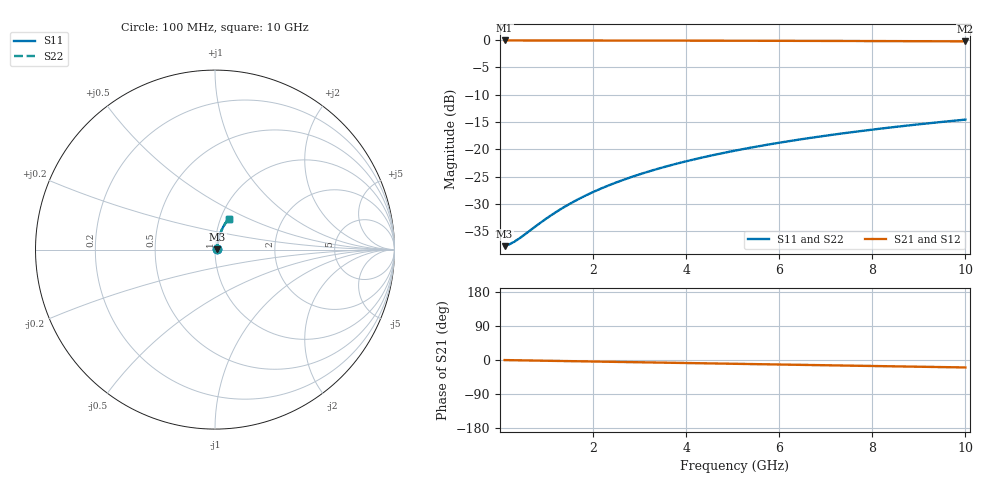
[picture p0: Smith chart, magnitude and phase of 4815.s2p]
# Hz S RI R 50.00
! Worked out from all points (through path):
!   100 points, 100 MHz to 10 GHz, reference 50 ohm
!   highest |S21| = -0.11 dB at 100 MHz (marker M1); lowest = -0.3 dB at 10 GHz (marker M2)
!   group delay of S21, straight-line fit = 5.47 ps
!   lowest |S11| = -37.7 dB at 100 MHz (marker M3), VSWR 1.03, Z = 51.3 + j0.193 ohm
!   |S11| at or under -10 dB: start of sweep to end of sweep
!   |S22| runs from -37.7 to -14.6 dB; largest |S21 - S12| = 0
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1e8  0.0129 0.00188  0.9871 -0.00343  0.9871 -0.00343  0.0129 0.00188
2e8  0.013 0.00376  0.987 -0.00686  0.987 -0.00686  0.013 0.00376
3e8  0.0131 0.00564  0.9869 -0.0103  0.9869 -0.0103  0.0131 0.00564
4e8  0.0132 0.00751  0.9868 -0.0137  0.9868 -0.0137  0.0132 0.00751
9e8  0.0138 0.0169  0.9861 -0.0309  0.9861 -0.0309  0.0138 0.0169
1.2e9  0.0143 0.0225  0.9855 -0.0411  0.9855 -0.0411  0.0143 0.0225
1.5e9  0.0149 0.0281  0.9848 -0.0514  0.9848 -0.0514  0.0149 0.0281
1.8e9  0.0156 0.0337  0.984 -0.0616  0.984 -0.0616  0.0156 0.0337
2.1e9  0.0164 0.0392  0.983 -0.0718  0.983 -0.0718  0.0164 0.0392
2.5e9  0.0177 0.0466  0.9816 -0.0854  0.9816 -0.0854  0.0177 0.0466
2.9e9  0.0191 0.054  0.9798 -0.099  0.9798 -0.099  0.0191 0.054
3.4e9  0.0212 0.0631  0.9773 -0.1159  0.9773 -0.1159  0.0212 0.0631
3.8e9  0.0231 0.0703  0.9751 -0.1293  0.9751 -0.1293  0.0231 0.0703
4.2e9  0.0252 0.0775  0.9726 -0.1427  0.9726 -0.1427  0.0252 0.0775
4.6e9  0.0275 0.0846  0.9699 -0.156  0.9699 -0.156  0.0275 0.0846
5.1e9  0.0306 0.0933  0.9662 -0.1725  0.9662 -0.1725  0.0306 0.0933
5.9e9  0.0362 0.1071  0.9595 -0.1987  0.9595 -0.1987  0.0362 0.1071
6.7e9  0.0426 0.1204  0.9519 -0.2245  0.9519 -0.2245  0.0426 0.1204
7.5e9  0.0496 0.1334  0.9434 -0.2499  0.9434 -0.2499  0.0496 0.1334
8.4e9  0.0583 0.1474  0.933 -0.278  0.933 -0.278  0.0583 0.1474
9.2e9  0.0667 0.1594  0.9228 -0.3024  0.9228 -0.3024  0.0667 0.1594
1e10  0.0757 0.1708  0.9119 -0.3263  0.9119 -0.3263  0.0757 0.1708
